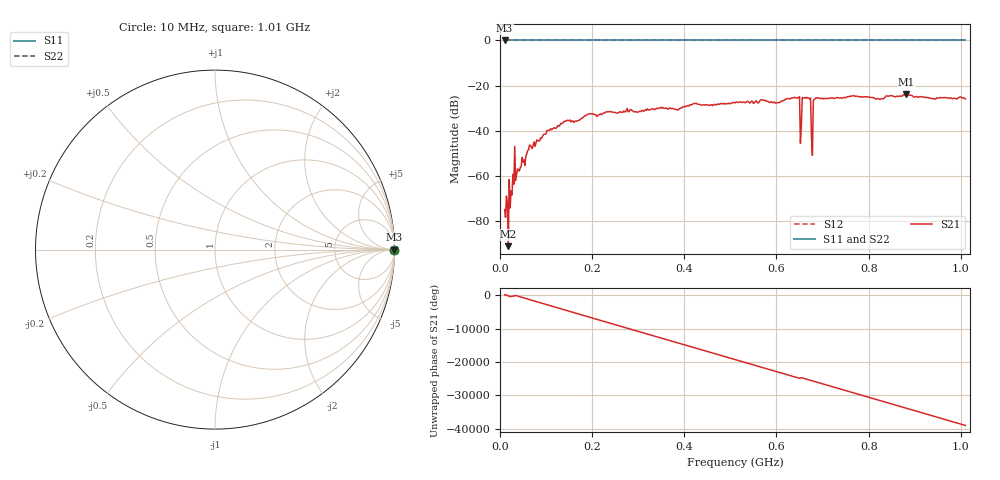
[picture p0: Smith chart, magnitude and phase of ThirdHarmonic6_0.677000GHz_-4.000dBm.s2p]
! 8/15/2025 10:33:09 PM
! C:\ANRITSUVNA\TEMP\TEMP.S2P
! CHANNEL.1
! TR.MEASUREMENT
! RAW.DATA
! RF.CORRECTION.OFF
! AVERAGING.OFF
! IF.BANDWIDTH: 5KHZ
! SWEEPTYPE:  FREQ.SWEEP(Linear)
! Reference Plane Port Info
! PORT:  PORT1  PORT2
! DISTANCE:  0  m  0  m
! TIME:  0  s  0  s
! PHASE.OFFSET:  0  deg.  0  deg.
! LOSS:  0  dB  0  dB
! REF.LOSS:  0  dB  0  dB
! REF.FREQ:  0  Hz  0  Hz
! Power Info
! POWER:  -20  dBm  -20  dBm
! EFF.POWER:  -20  dBm  -20  dBm
! SOURCE.ATTEN:  0  dB  0  dB
! TEST.ATTEN:  0  dB  0  dB
# GHZ S RI R 50.0
! FREQ.GHZ  S11RE  S11IM  S21RE  S21IM  S12RE  S12IM  S22RE  S22IM
!; PortSelection: Port_12
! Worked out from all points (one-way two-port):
!   501 points, 10 MHz to 1.01 GHz, reference 50 ohm
!   highest |S21| = -23.86 dB at 882 MHz (marker M1); lowest = -91.0 dB at 18 MHz (marker M2)
!   lowest |S11| = 0.0 dB at 10 MHz (marker M3)
!   |S11| at or under -10 dB: nowhere
!   |S22| runs from 0.0 to 0.0 dB; largest |S21 - S12| = 1.1
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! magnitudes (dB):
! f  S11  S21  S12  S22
! 10 MHz  0.0  -74.8  0.0  0.0
! 18 MHz  0.0  -91.0  0.0  0.0
! 22 MHz  0.0  -74.1  0.0  0.0
! 32 MHz  0.0  -46.8  0.0  0.0
! 64 MHz  0.0  -46.3  0.0  0.0
! 106 MHz  0.0  -39.8  0.0  0.0
! 178 MHz  0.0  -34.4  0.0  0.0
! 344 MHz  0.0  -30.1  0.0  0.0
! 510 MHz  0.0  -27.5  0.0  0.0
! 646 MHz  0.0  -25.3  0.0  0.0
! 650 MHz  0.0  -24.9  0.0  0.0
! 656 MHz  0.0  -25.2  0.0  0.0
! 660 MHz  0.0  -25.5  0.0  0.0
! 670 MHz  0.0  -25.4  0.0  0.0
! 674 MHz  0.0  -25.5  0.0  0.0
! 678 MHz  0.0  -50.8  0.0  0.0
! 680 MHz  0.0  -26.6  0.0  0.0
! 684 MHz  0.0  -25.7  0.0  0.0
! 688 MHz  0.0  -25.3  0.0  0.0
! 844 MHz  0.0  -24.6  0.0  0.0
! 882 MHz  0.0  -23.9  0.0  0.0
! 1.01 GHz  0.0  -25.9  0.0  0.0
